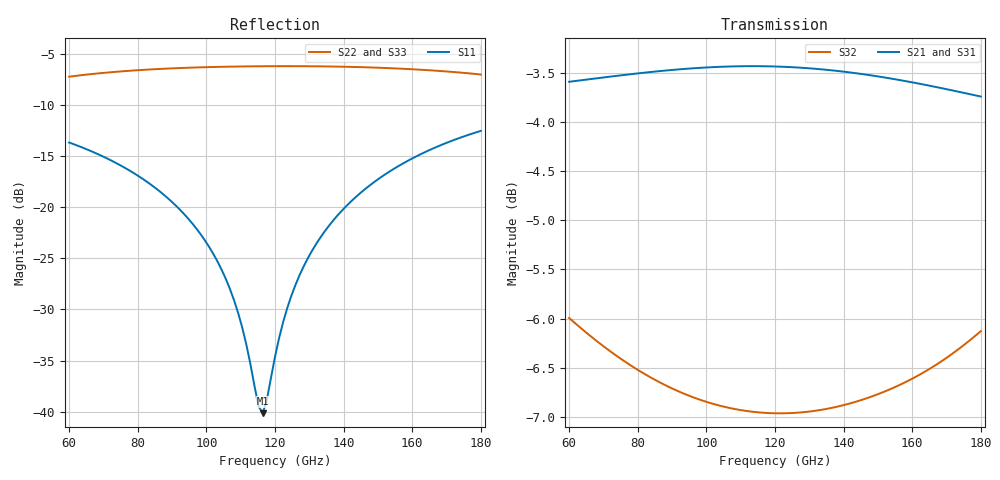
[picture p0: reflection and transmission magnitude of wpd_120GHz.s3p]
#  GHZ S DB R 50
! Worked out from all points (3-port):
!   101 points, 60 GHz to 180 GHz, reference 50 ohm
!   strongest paths, dB at 60 GHz, 90 GHz, 120 GHz, 150 GHz, 180 GHz:
!     S21: -3.6, -3.5, -3.4, -3.5, -3.7
!     S31: -3.6, -3.5, -3.4, -3.5, -3.7
!     S32: -6.0, -6.7, -7.0, -6.8, -6.1
!   lowest |S11| = -40.2 dB at 116.4 GHz (marker M1), VSWR 1.02, Z = 51 - j0.079 ohm
!   |S11| at or under -10 dB: start of sweep to end of sweep
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60  -13.68 131.7  -3.59 -44.4  -3.59 -44.4
    -3.59 -44.4  -7.24 49.6  -5.99 -98.0
    -3.59 -44.4  -5.99 -98.0  -7.24 49.6
82.8  -17.55 112.5  -3.49 -61.8  -3.50 -61.8
      -3.49 -61.8  -6.55 25.9  -6.58 -129.8
      -3.50 -61.8  -6.58 -129.8  -6.54 25.9
98.4  -22.68 96.8  -3.45 -74.0  -3.45 -74.0
      -3.45 -74.0  -6.33 12.5  -6.83 -150.9
      -3.45 -74.0  -6.83 -150.9  -6.32 12.5
108  -29.04 80.7  -3.43 -81.6  -3.44 -81.6
     -3.43 -81.6  -6.25 4.8  -6.92 -163.7
     -3.44 -81.6  -6.92 -163.7  -6.25 4.8
116.4  -40.15 -4.5  -3.43 -88.2  -3.43 -88.2
       -3.43 -88.2  -6.22 -1.7  -6.96 -175.0
       -3.43 -88.2  -6.96 -175.0  -6.22 -1.7
120  -34.63 -60.9  -3.43 -91.1  -3.44 -91.1
     -3.43 -91.1  -6.22 -4.5  -6.96 -179.8
     -3.44 -91.1  -6.96 -179.8  -6.21 -4.5
127.2  -26.62 -86.4  -3.45 -96.8  -3.45 -96.8
       -3.45 -96.8  -6.22 -10.0  -6.96 170.6
       -3.45 -96.8  -6.96 170.6  -6.21 -10.0
139.2  -20.44 -102.2  -3.48 -106.3  -3.49 -106.3
       -3.48 -106.3  -6.26 -19.4  -6.89 154.5
       -3.49 -106.3  -6.89 154.5  -6.26 -19.4
156  -15.98 -117.8  -3.57 -119.5  -3.57 -119.5
     -3.57 -119.5  -6.45 -33.3  -6.68 131.7
     -3.57 -119.5  -6.68 131.7  -6.45 -33.3
180  -12.54 -137.4  -3.74 -138.0  -3.74 -138.0
     -3.74 -138.0  -7.03 -56.9  -6.13 98.0
     -3.74 -138.0  -6.13 98.0  -7.03 -56.9
